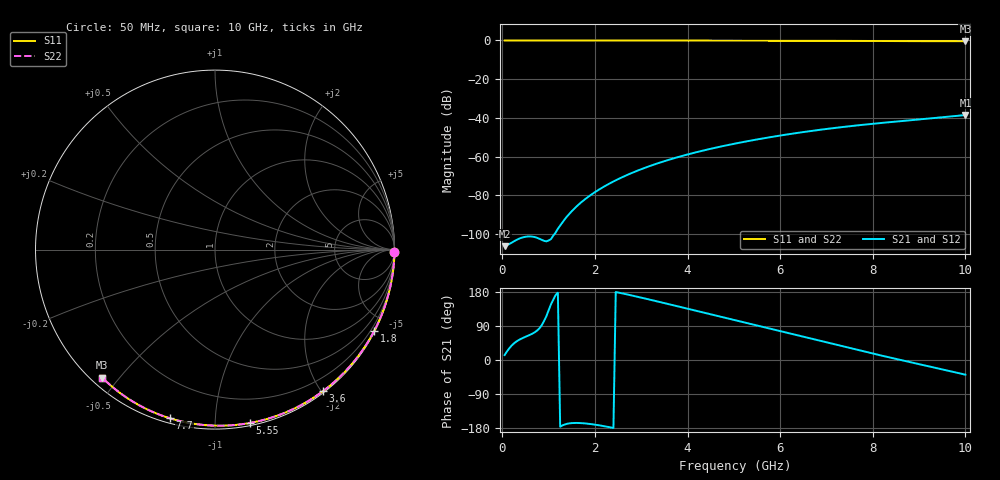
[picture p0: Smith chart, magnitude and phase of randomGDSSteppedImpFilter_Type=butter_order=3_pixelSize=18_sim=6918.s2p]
! freq	dB(S11)	phase(S11)	dB(S12)	phase(S12)
!  dB(S21)	phase(S21)	dB(S22)	phase(S22)
!S-par simulation data
#  GHz  S  DB  R 50
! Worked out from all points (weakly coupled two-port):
!   200 points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, 50 MHz to 10 GHz, reference 50 ohm
!   highest |S21| = -38.47 dB at 10 GHz (marker M1); lowest = -106.2 dB at 50 MHz (marker M2)
!   lowest |S11| = -0.4 dB at 10 GHz (marker M3), VSWR 39.35, Z = 1.53 - j22.6 ohm
!   |S11| at or under -10 dB: nowhere
!   |S22| runs from -0.4 to 0.0 dB; largest |S21 - S12| = 0
!   S11 on the Smith chart (normalised r, x): 50 MHz: open; 1.8 GHz: 0.04, -4.18; 3.6 GHz: 0.02, -2.02; 5.55 GHz: 0.02, -1.22; 7.7 GHz: 0.02, -0.77; 10 GHz: 0.03, -0.45
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0.05  -0.00 -0.8  -106.16 13.1  -106.16 13.1  -0.00 -0.8
0.45  -0.01 -6.8  -101.58 58.5  -101.58 58.5  -0.01 -6.8
0.9  -0.02 -13.6  -103.39 102.6  -103.39 102.6  -0.02 -13.6
1.75  -0.03 -26.2  -82.63 -166.9  -82.63 -166.9  -0.03 -26.2
1.8  -0.03 -26.9  -81.69 -167.5  -81.69 -167.5  -0.03 -26.9
1.9  -0.04 -28.4  -79.93 -168.9  -79.93 -168.9  -0.04 -28.4
2.05  -0.04 -30.6  -77.53 -171.5  -77.53 -171.5  -0.04 -30.6
2.25  -0.04 -33.5  -74.68 -175.8  -74.68 -175.8  -0.04 -33.5
2.45  -0.05 -36.4  -72.17 179.4  -72.17 179.4  -0.05 -36.4
2.65  -0.05 -39.3  -69.91 174.2  -69.91 174.2  -0.05 -39.3
3  -0.06 -44.2  -66.44 164.6  -66.44 164.6  -0.06 -44.2
3.4  -0.07 -49.9  -63.06 153.1  -63.06 153.1  -0.07 -49.9
3.6  -0.07 -52.7  -61.55 147.2  -61.55 147.2  -0.07 -52.7
4.3  -0.09 -62.2  -57.03 126.4  -57.03 126.4  -0.09 -62.2
5.05  -0.11 -72.2  -53.11 104.2  -53.11 104.2  -0.11 -72.2
5.55  -0.13 -78.6  -50.87 89.4  -50.87 89.4  -0.13 -78.6
6.1  -0.15 -85.6  -48.69 73.1  -48.69 73.1  -0.15 -85.6
6.7  -0.18 -93.0  -46.61 55.2  -46.61 55.2  -0.18 -93.0
7.7  -0.24 -105.0  -43.75 25.7  -43.75 25.7  -0.24 -105.0
8.35  -0.29 -112.6  -42.20 7.1  -42.20 7.1  -0.29 -112.6
9.15  -0.36 -121.8  -40.44 -15.0  -40.44 -15.0  -0.36 -121.8
10  -0.44 -131.4  -38.47 -38.8  -38.47 -38.8  -0.44 -131.4
